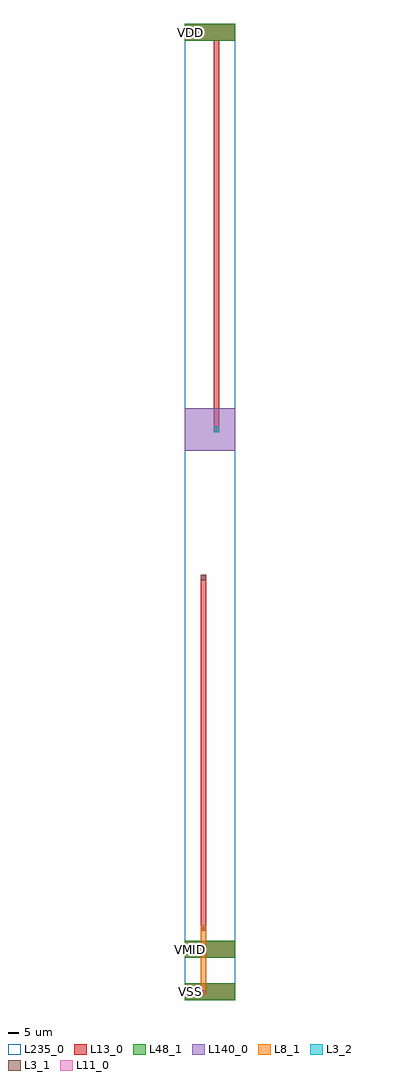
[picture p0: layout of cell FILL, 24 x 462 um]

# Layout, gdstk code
import gdstk
lib = gdstk.Library(unit=1e-6, precision=1e-09)
def R(c, l, rs):  # rectangles x0, y0, x1, y1
    for r in rs: c.add(gdstk.rectangle(r[:2], r[2:], *l))
L3_1 = (3, 1)
L3_2 = (3, 2)
L8_1 = (8, 1)
L11_0 = (11, 0)
L13_0 = (13, 0)
L48_1 = (48, 1)
L140_0 = (140, 0)
L235_0 = (235, 0)

cont_n__fill = lib.new_cell('cont_n__FILL')
R(cont_n__fill, L3_2, [(-1.3,-1.3,1.3,1.3)])
R(cont_n__fill, L11_0, [(-0.5,-0.5,0.5,0.5)])
R(cont_n__fill, L13_0, [(-1.3,-1.3,1.3,1.3)])

cont_p__fill = lib.new_cell('cont_p__FILL')
R(cont_p__fill, L3_1, [(-1.3,-1.3,1.3,1.3)])
R(cont_p__fill, L11_0, [(-0.5,-0.5,0.5,0.5)])
R(cont_p__fill, L13_0, [(-1.3,-1.3,1.3,1.3)])

cont_g__fill = lib.new_cell('cont_g__FILL')
R(cont_g__fill, L8_1, [(-1.3,-1.3,1.3,1.3)])
R(cont_g__fill, L11_0, [(-0.5,-0.5,0.5,0.5)])
R(cont_g__fill, L13_0, [(-1.3,-1.3,1.3,1.3)])

fill = lib.new_cell('FILL')
R(fill, L8_1, [(7.7,2.7,10.3,35.3)])
R(fill, L13_0, [(0,0,24,8), (0,20,24,28), (7.7,32.7,10.3,201.3), (13.7,268.7,16.3,459.3), (0,454,24,462)])
R(fill, L48_1, [(0,0,24,8), (0,20,24,28), (0,454,24,462)])
R(fill, L140_0, [(0,260,24,280)])
R(fill, L235_0, [(0,0,24,462)])
fill.add(gdstk.Reference(cont_n__fill, (15,270)))
fill.add(gdstk.Reference(cont_p__fill, (9,200)))
fill.add(gdstk.Reference(cont_g__fill, (9,34)))
fill.add(gdstk.Reference(cont_g__fill, (9,4)))
fill.add(gdstk.Label('VDD', (3,458), layer=48, texttype=0))
fill.add(gdstk.Label('VMID', (3,24), layer=48, texttype=0))
fill.add(gdstk.Label('VSS', (3,4), layer=48, texttype=0))

lib.write_gds('FILL.gds')
